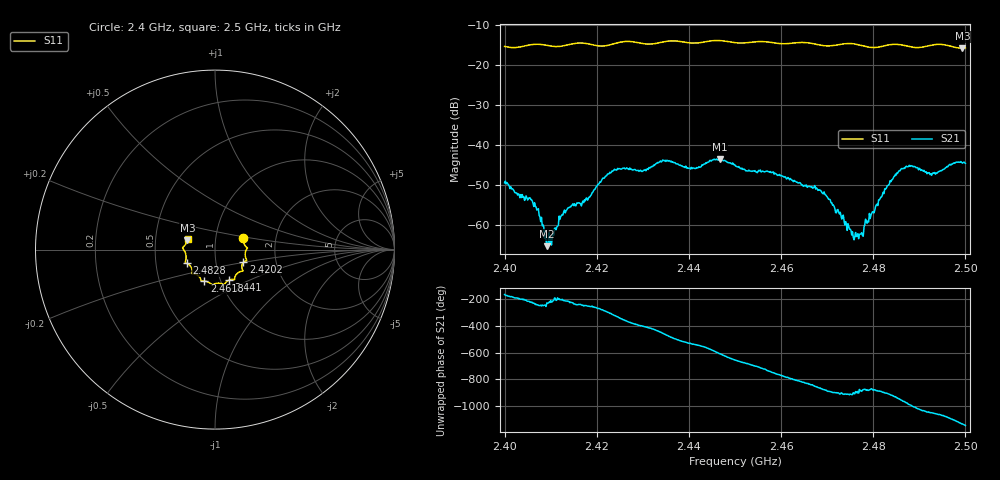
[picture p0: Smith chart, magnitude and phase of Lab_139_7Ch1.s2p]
# Hz S RI R 50
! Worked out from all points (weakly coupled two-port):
!   601 points, 2.4 GHz to 2.5 GHz, reference 50 ohm
!   highest |S21| = -43.43 dB at 2.4467 GHz (marker M1); lowest = -65.2 dB at 2.4092 GHz (marker M2)
!   lowest |S11| = -15.8 dB at 2.4993 GHz (marker M3), VSWR 1.39, Z = 36.5 + j3.84 ohm
!   |S11| at or under -10 dB: start of sweep to end of sweep
!   S12 and S22 are empty: the file has one direction only
!   S11 on the Smith chart (normalised r, x): 2.4 GHz: 1.36, +0.18; 2.4202 GHz: 1.36, -0.20; 2.441 GHz: 1.10, -0.39; 2.4618 GHz: 0.84, -0.30; 2.4828 GHz: 0.72, -0.11; 2.5 GHz: 0.73, +0.09
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2.4e9  0.1581 0.0627  -0.00331 -0.000756  0 0  0 0
2.406e9  0.1793 0.0108  -0.00144 0.00142  0 0  0 0
2.409167e9  0.1755 0.000435  -0.000355 0.000419  0 0  0 0
2.413333e9  0.1703 -0.0433  -0.00125 0.000871  0 0  0 0
2.416667e9  0.1774 -0.0606  -0.000757 0.00157  0 0  0 0
2.420167e9  0.1582 -0.0711  -5.36e-05 0.00319  0 0  0 0
2.424e9  0.1512 -0.1071  0.00399 0.00289  0 0  0 0
2.433333e9  0.1115 -0.151  0.00106 -0.00593  0 0  0 0
2.441e9  0.0784 -0.1697  -0.00516 -0.000337  0 0  0 0
2.446667e9  0.0485 -0.1955  -0.00257 0.00623  0 0  0 0
2.45e9  0.0281 -0.1874  0.00243 0.00507  0 0  0 0
2.461833e9  -0.0595 -0.1757  0.00122 -0.00349  0 0  0 0
2.466667e9  -0.0786 -0.1681  -0.00149 -0.00266  0 0  0 0
2.469833e9  -0.0943 -0.145  -0.00219 -0.000809  0 0  0 0
2.476333e9  -0.1272 -0.1289  -0.00072 -9.74e-05  0 0  0 0
2.477333e9  -0.1266 -0.1216  -0.00075 -0.000236  0 0  0 0
2.482833e9  -0.1576 -0.0767  -0.00289 0.000103  0 0  0 0
2.483333e9  -0.1607 -0.0753  -0.00315 0.000441  0 0  0 0
2.4875e9  -0.162 -0.0549  -0.000951 0.00529  0 0  0 0
2.492833e9  -0.1773 0.00414  0.00383 0.00226  0 0  0 0
2.499333e9  -0.1537 0.0513  0.00374 -0.00465  0 0  0 0
2.5e9  -0.152 0.0608  0.00272 -0.00527  0 0  0 0
